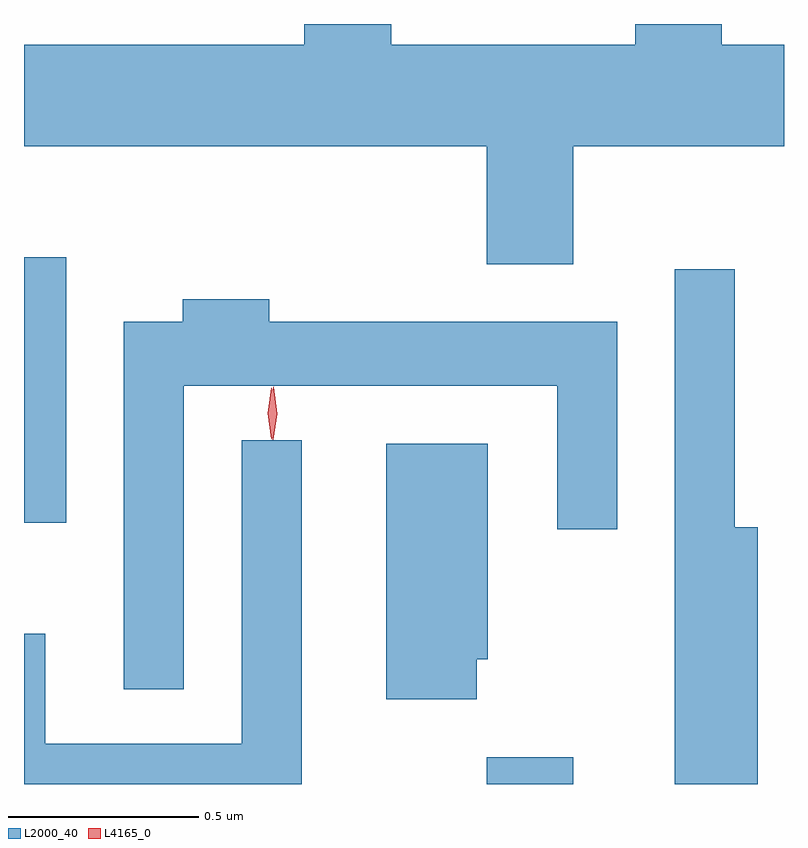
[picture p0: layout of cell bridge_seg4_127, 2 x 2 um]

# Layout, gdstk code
import gdstk
lib = gdstk.Library(unit=1e-6, precision=1e-09)
def R(c, l, rs):  # rectangles x0, y0, x1, y1
    for r in rs: c.add(gdstk.rectangle(r[:2], r[2:], *l))
def P(c, l, *ps):  # polygons
    for p in ps: c.add(gdstk.Polygon(p, *l))
L2000_40 = (2000, 40)
L4165_0 = (4165, 0)

bridge_seg4_127 = lib.new_cell('bridge_seg4_127')
R(bridge_seg4_127, L2000_40, [(870.051,1315.258,870.279,1315.329), (868.833,1315.946,868.944,1316.644)])
P(bridge_seg4_127, L2000_40, [(870.279,1316.936),(870.833,1316.936),(870.833,1317.204),(870.669,1317.204),(870.669,1317.258),(870.441,1317.258),(870.441,1317.204),(869.799,1317.204),(869.799,1317.258),(869.571,1317.258),(869.571,1317.204),(868.833,1317.204),(868.833,1316.936),(870.051,1316.936),(870.051,1316.626),(870.279,1316.626)],
  [(870.764,1315.934),(870.704,1315.934),(870.704,1316.613),(870.546,1316.613),(870.546,1315.258),(870.764,1315.258)],
  [(869.254,1316.306),(870.236,1316.306),(870.236,1315.928),(870.394,1315.928),(870.394,1316.474),(869.479,1316.474),(869.479,1316.534),(869.251,1316.534),(869.251,1316.474),(869.096,1316.474),(869.096,1315.508),(869.254,1315.508)],
  [(869.564,1316.163),(869.406,1316.163),(869.406,1315.364),(868.889,1315.364),(868.889,1315.654),(868.833,1315.654),(868.833,1315.258),(869.564,1315.258)],
  [(870.024,1315.586),(870.054,1315.586),(870.054,1316.154),(869.786,1316.154),(869.786,1315.481),(870.024,1315.481)])
P(bridge_seg4_127, L4165_0, [(869.488,1316.164),(869.479,1316.233),(869.489,1316.302),(869.49,1316.303),(869.49,1316.302),(869.499,1316.233),(869.489,1316.164),(869.489,1316.164)],
  [(869.484,1316.167),(869.484,1316.167),(869.474,1316.234),(869.484,1316.3),(869.484,1316.301),(869.485,1316.3),(869.494,1316.234),(869.485,1316.167)])

lib.write_gds('bridge_seg4_127.gds')
